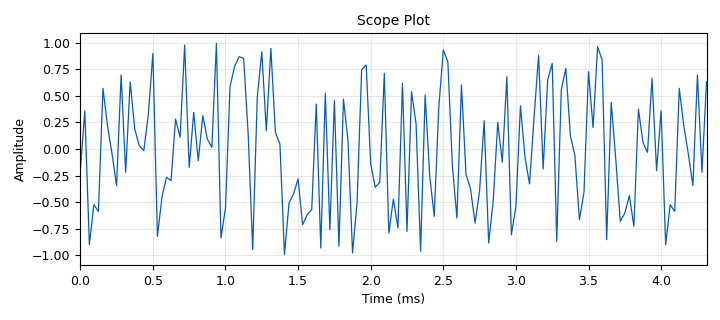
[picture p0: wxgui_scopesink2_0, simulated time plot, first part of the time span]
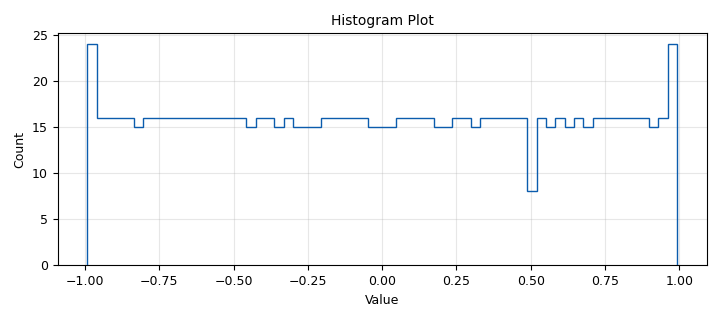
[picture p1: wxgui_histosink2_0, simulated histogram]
<?xml version='1.0' encoding='utf-8'?>
<flow_graph>
<block>
<key>options</key>
<param><key>id</key><value>top_block</value></param>
<param><key>generate_options</key><value>wx_gui</value></param>
<param><key>category</key><value>Custom</value></param>
</block>
<block>
<key>variable</key>
<param><key>id</key><value>samp_rate</value></param>
<param><key>value</key><value>32000</value></param>
</block>
<block>
<key>gr_unpacked_to_packed_xx</key>
<param><key>id</key><value>gr_unpacked_to_packed_xx_0</value></param>
<param><key>type</key><value>byte</value></param>
<param><key>bits_per_chunk</key><value>1</value></param>
<param><key>endianness</key><value>gr.GR_LSB_FIRST</value></param>
<param><key>num_ports</key><value>1</value></param>
</block>
<block>
<key>const_source_x</key>
<param><key>id</key><value>const_source_x_0</value></param>
<param><key>_enabled</key><value>False</value></param>
<param><key>type</key><value>float</value></param>
<param><key>const</key><value>255</value></param>
</block>
<block>
<key>note</key>
<param><key>id</key><value>note_0</value></param>
<param><key>note</key><value>Histo sink limits to [-100, 100]</value></param>
</block>
<block>
<key>gr_char_to_float</key>
<param><key>id</key><value>gr_char_to_float_0</value></param>
</block>
<block>
<key>gr_uchar_to_float</key>
<param><key>id</key><value>gr_uchar_to_float_0</value></param>
<param><key>_enabled</key><value>False</value></param>
</block>
<block>
<key>gr_multiply_const_vxx</key>
<param><key>id</key><value>gr_multiply_const_vxx_0</value></param>
<param><key>type</key><value>float</value></param>
<param><key>const</key><value>1.0/128</value></param>
<param><key>vlen</key><value>1</value></param>
</block>
<block>
<key>gr_throttle</key>
<param><key>id</key><value>gr_throttle_0</value></param>
<param><key>type</key><value>float</value></param>
<param><key>samples_per_second</key><value>samp_rate</value></param>
<param><key>vlen</key><value>1</value></param>
</block>
<block>
<key>wxgui_scopesink2</key>
<param><key>id</key><value>wxgui_scopesink2_0</value></param>
<param><key>type</key><value>float</value></param>
<param><key>title</key><value>Scope Plot</value></param>
<param><key>samp_rate</key><value>samp_rate</value></param>
<param><key>v_scale</key><value>0</value></param>
<param><key>v_offset</key><value>0</value></param>
<param><key>t_scale</key><value>0.002</value></param>
<param><key>ac_couple</key><value>False</value></param>
<param><key>xy_mode</key><value>False</value></param>
<param><key>num_inputs</key><value>1</value></param>
</block>
<block>
<key>wxgui_histosink2</key>
<param><key>id</key><value>wxgui_histosink2_0</value></param>
<param><key>title</key><value>Histogram Plot</value></param>
<param><key>num_bins</key><value>63</value></param>
<param><key>frame_size</key><value>1000</value></param>
</block>
<block>
<key>gr_glfsr_source_x</key>
<param><key>id</key><value>gr_glfsr_source_x_0</value></param>
<param><key>type</key><value>byte</value></param>
<param><key>degree</key><value>6+1</value></param>
<param><key>repeat</key><value>True</value></param>
<param><key>mask</key><value>0</value></param>
<param><key>seed</key><value>1</value></param>
</block>
<connection><source_block_id>const_source_x_0</source_block_id><sink_block_id>gr_throttle_0</sink_block_id><source_key>0</source_key><sink_key>0</sink_key></connection>
<connection><source_block_id>gr_throttle_0</source_block_id><sink_block_id>wxgui_histosink2_0</sink_block_id><source_key>0</source_key><sink_key>0</sink_key></connection>
<connection><source_block_id>gr_glfsr_source_x_0</source_block_id><sink_block_id>gr_unpacked_to_packed_xx_0</sink_block_id><source_key>0</source_key><sink_key>0</sink_key></connection>
<connection><source_block_id>gr_unpacked_to_packed_xx_0</source_block_id><sink_block_id>gr_uchar_to_float_0</sink_block_id><source_key>0</source_key><sink_key>0</sink_key></connection>
<connection><source_block_id>gr_unpacked_to_packed_xx_0</source_block_id><sink_block_id>gr_char_to_float_0</sink_block_id><source_key>0</source_key><sink_key>0</sink_key></connection>
<connection><source_block_id>gr_char_to_float_0</source_block_id><sink_block_id>gr_multiply_const_vxx_0</sink_block_id><source_key>0</source_key><sink_key>0</sink_key></connection>
<connection><source_block_id>gr_uchar_to_float_0</source_block_id><sink_block_id>gr_multiply_const_vxx_0</sink_block_id><source_key>0</source_key><sink_key>0</sink_key></connection>
<connection><source_block_id>gr_multiply_const_vxx_0</source_block_id><sink_block_id>gr_throttle_0</sink_block_id><source_key>0</source_key><sink_key>0</sink_key></connection>
<connection><source_block_id>gr_throttle_0</source_block_id><sink_block_id>wxgui_scopesink2_0</sink_block_id><source_key>0</source_key><sink_key>0</sink_key></connection>
</flow_graph>
